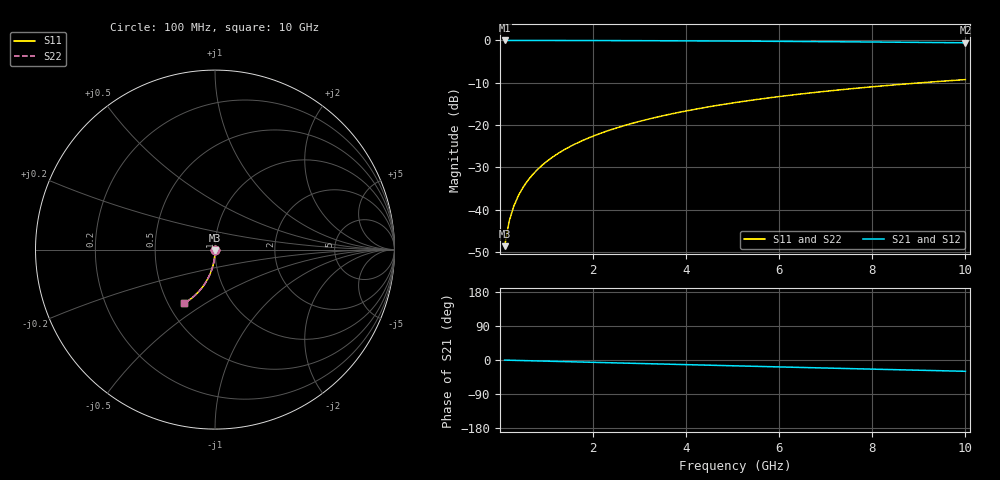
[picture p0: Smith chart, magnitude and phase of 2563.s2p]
# Hz S RI R 50.00
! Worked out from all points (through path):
!   100 points, 100 MHz to 10 GHz, reference 50 ohm
!   highest |S21| = 0.00 dB at 100 MHz (marker M1); lowest = -0.6 dB at 10 GHz (marker M2)
!   group delay of S21, straight-line fit = 8.31 ps
!   lowest |S11| = -48.6 dB at 100 MHz (marker M3), VSWR 1.01, Z = 50 - j0.371 ohm
!   |S11| at or under -10 dB: start of sweep to 9.046 GHz
!   |S22| runs from -48.6 to -9.3 dB; largest |S21 - S12| = 0
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1e8  0.000219 -0.00371  0.9997 -0.00534  0.9997 -0.00534  0.000219 -0.00371
2e8  0.000156 -0.00741  0.9997 -0.0107  0.9997 -0.0107  0.000156 -0.00741
3e8  5.43e-05 -0.0111  0.9996 -0.016  0.9996 -0.016  5.43e-05 -0.0111
4e8  -8.76e-05 -0.0148  0.9994 -0.0214  0.9994 -0.0214  -8.76e-05 -0.0148
5e8  -0.000269 -0.0185  0.9992 -0.0267  0.9992 -0.0267  -0.000269 -0.0185
6e8  -0.000491 -0.0222  0.999 -0.032  0.999 -0.032  -0.000491 -0.0222
7e8  -0.000752 -0.0259  0.9987 -0.0374  0.9987 -0.0374  -0.000752 -0.0259
8e8  -0.00105 -0.0296  0.9984 -0.0427  0.9984 -0.0427  -0.00105 -0.0296
9e8  -0.00139 -0.0333  0.998 -0.048  0.998 -0.048  -0.00139 -0.0333
1.1e9  -0.00219 -0.0407  0.9971 -0.0587  0.9971 -0.0587  -0.00219 -0.0407
1.4e9  -0.00368 -0.0517  0.9955 -0.0746  0.9955 -0.0746  -0.00368 -0.0517
1.8e9  -0.00622 -0.0663  0.9928 -0.0958  0.9928 -0.0958  -0.00622 -0.0663
2.1e9  -0.00853 -0.0772  0.9904 -0.1116  0.9904 -0.1116  -0.00853 -0.0772
2.5e9  -0.0122 -0.0916  0.9865 -0.1325  0.9865 -0.1325  -0.0122 -0.0916
2.9e9  -0.0164 -0.1058  0.982 -0.1533  0.982 -0.1533  -0.0164 -0.1058
3.4e9  -0.0225 -0.1232  0.9754 -0.1789  0.9754 -0.1789  -0.0225 -0.1232
4.2e9  -0.0341 -0.1503  0.963 -0.2192  0.963 -0.2192  -0.0341 -0.1503
5.1e9  -0.0498 -0.1792  0.9461 -0.2631  0.9461 -0.2631  -0.0498 -0.1792
5.9e9  -0.0658 -0.2034  0.9289 -0.3007  0.9289 -0.3007  -0.0658 -0.2034
6.7e9  -0.0836 -0.226  0.9097 -0.3367  0.9097 -0.3367  -0.0836 -0.226
8.4e9  -0.1265 -0.2678  0.8632 -0.4074  0.8632 -0.4074  -0.1265 -0.2678
1e10  -0.1714 -0.2991  0.8139 -0.4662  0.8139 -0.4662  -0.1714 -0.2991
